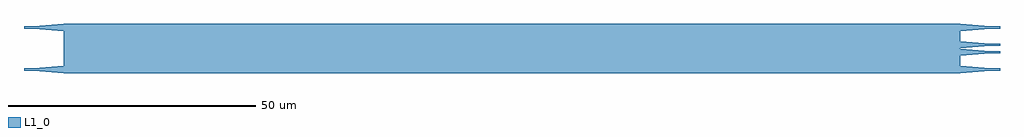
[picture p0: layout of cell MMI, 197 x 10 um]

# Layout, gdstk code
import gdstk
lib = gdstk.Library(unit=1e-6, precision=1e-10)
def R(c, l, rs):  # rectangles x0, y0, x1, y1
    for r in rs: c.add(gdstk.rectangle(r[:2], r[2:], *l))
def P(c, l, *ps):  # polygons
    for p in ps: c.add(gdstk.Polygon(p, *l))
L1_0 = (1, 0)

mmi = lib.new_cell('MMI')
R(mmi, L1_0, [(0,-5,181,5), (-8,-4.465,-6,-4.015), (187,-4.465,189,-4.015), (187,-0.985,189,-0.535), (187,0.535,189,0.985), (-8,4.015,-6,4.465), (187,4.015,189,4.465)])
P(mmi, L1_0, [(0,4.99),(0,3.49),(-6,4.015),(-6,4.465)],
  [(0,-3.49),(0,-4.99),(-6,-4.465),(-6,-4.015)],
  [(181,4.99),(181,3.49),(187,4.015),(187,4.465)],
  [(181,-3.49),(181,-4.99),(187,-4.465),(187,-4.015)],
  [(181,1.51),(181,0.01),(187,0.535),(187,0.985)],
  [(181,-0.01),(181,-1.51),(187,-0.985),(187,-0.535)])

lib.write_gds('MMI.gds')
